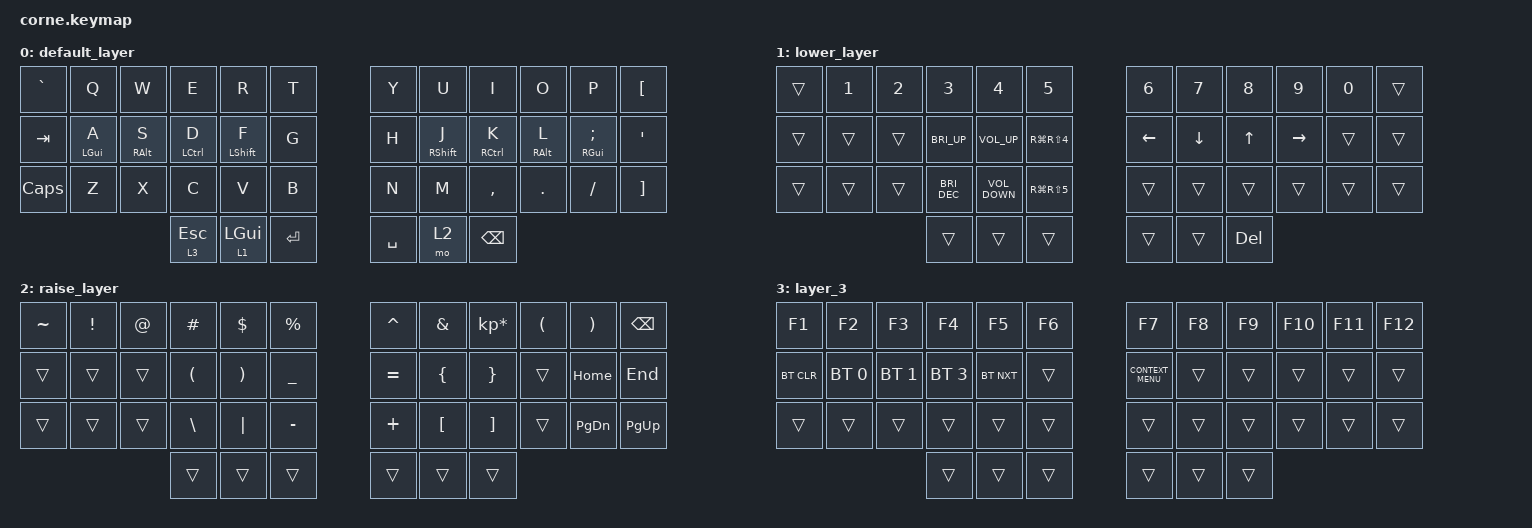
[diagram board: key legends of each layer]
/*
 * Copyright (c) 2020 The ZMK Contributors
 *
 * SPDX-License-Identifier: MIT
 */

#include <behaviors.dtsi>
#include <dt-bindings/zmk/bt.h>
#include <dt-bindings/zmk/keys.h>

/ {
    behaviors {
        hml: homewrow_mods_left {
            compatible = "zmk,behavior-hold-tap";
            label = "HOMEROW_MODS_LEFT_HAND";
            bindings = <&kp>, <&kp>;

            #binding-cells = <2>;
            tapping-term-ms = <150>;
            hold-trigger-key-positions = <6 9 8 7 6 7 8 9 10 11 18 19 20 21 22 23 30 31 32 33 34 35 39 40 41>;
            retro-tap;
            require-prior-idle-ms = <125>;
        };

        hmr: homewrow_mods_right {
            compatible = "zmk,behavior-hold-tap";
            label = "HOMEROW_MODS_RIGHT_HAND";
            bindings = <&kp>, <&kp>;

            #binding-cells = <2>;
            tapping-term-ms = <150>;
            hold-trigger-key-positions = <0 1 2 3 4 5 12 13 14 15 16 17 24 25 26 27 28 29 36 37 38>;
            require-prior-idle-ms = <125>;
            retro-tap;
        };
    };

    keymap {
        compatible = "zmk,keymap";

        default_layer {
            // -----------------------------------------------------------------------------------------
            // |  TAB |  Q  |  W  |  E  |  R  |  T  |   |  Y  |  U   |  I  |  O  |  P  | BKSP |
            // | CTRL |  A  |  S  |  D  |  F  |  G  |   |  H  |  J   |  K  |  L  |  ;  |  '   |
            // | SHFT |  Z  |  X  |  C  |  V  |  B  |   |  N  |  M   |  ,  |  .  |  /  | ESC  |
            //                    | GUI | LWR | SPC |   | ENT | RSE  | ALT |

            bindings = <
&kp GRAVE  &kp Q            &kp W        &kp E         &kp R              &kp T         &kp Y      &kp U               &kp I          &kp O             &kp P                &kp LEFT_BRACKET
&kp TAB    &hml LEFT_GUI A  &hml RALT S  &hml LCTRL D  &hml LEFT_SHIFT F  &kp G         &kp H      &hmr RIGHT_SHIFT J  &hmr RCTRL K   &hmr RIGHT_ALT L  &hmr RGUI SEMICOLON  &kp SQT
&kp CAPS   &kp Z            &kp X        &kp C         &kp V              &kp B         &kp N      &kp M               &kp COMMA      &kp DOT           &kp FSLH             &kp RIGHT_BRACKET
                                         &lt 3 ESCAPE  &lt 1 LEFT_GUI     &kp RETURN    &kp SPACE  &mo 2               &kp BACKSPACE
            >;
        };

        lower_layer {
            // -----------------------------------------------------------------------------------------
            // |  TAB |  1  |  2  |  3  |  4  |  5  |   |  6  |  7  |  8  |  9  |  0  | BKSP |
            // | BTCLR| BT1 | BT2 | BT3 | BT4 | BT5 |   | LFT | DWN |  UP | RGT |     |      |
            // | SHFT |     |     |     |     |     |   |     |     |     |     |     |      |
            //                    | GUI |     | SPC |   | ENT |     | ALT |

            bindings = <
&trans  &kp N1  &kp N2  &kp N3         &kp N4             &kp N5                  &kp N6    &kp N7    &kp N8      &kp N9     &kp N0  &trans
&trans  &trans  &trans  &kp C_BRI_UP   &kp C_VOLUME_UP    &kp RG(RS(NUMBER_4))    &kp LEFT  &kp DOWN  &kp UP      &kp RIGHT  &trans  &trans
&trans  &trans  &trans  &kp C_BRI_DEC  &kp C_VOLUME_DOWN  &kp RG(RS(N5))          &trans    &trans    &trans      &trans     &trans  &trans
                        &trans         &trans             &trans                  &trans    &trans    &kp DELETE
            >;
        };

        raise_layer {
            // -----------------------------------------------------------------------------------------
            // |  TAB |  !  |  @  |  #  |  $  |  %  |   |  ^  |  &  |  *  |  (  |  )  | BKSP |
            // | CTRL |     |     |     |     |     |   |  -  |  =  |  [  |  ]  |  \  |  `   |
            // | SHFT |     |     |     |     |     |   |  _  |  +  |  {  |  }  | "|" |  ~   |
            //                    | GUI |     | SPC |   | ENT |     | ALT |

            bindings = <
&kp TILDE  &kp EXCL  &kp AT  &kp HASH              &kp DLLR               &kp PRCNT         &kp CARET  &kp AMPS          &kp KP_MULTIPLY    &kp LPAR  &kp RPAR       &kp BSPC
&trans     &trans    &trans  &kp LEFT_PARENTHESIS  &kp RIGHT_PARENTHESIS  &kp UNDERSCORE    &kp EQUAL  &kp LEFT_BRACE    &kp RIGHT_BRACE    &trans    &kp HOME       &kp END
&trans     &trans    &trans  &kp BACKSLASH         &kp PIPE               &kp MINUS         &kp PLUS   &kp LEFT_BRACKET  &kp RIGHT_BRACKET  &trans    &kp PAGE_DOWN  &kp PAGE_UP
                             &trans                &trans                 &trans            &trans     &trans            &trans
            >;
        };

        layer_3 {
            bindings = <
&kp F1      &kp F2        &kp F3        &kp F4        &kp F5      &kp F6    &kp F7              &kp F8  &kp F9  &kp F10  &kp F11  &kp F12
&bt BT_CLR  &bt BT_SEL 0  &bt BT_SEL 1  &bt BT_SEL 3  &bt BT_NXT  &trans    &kp K_CONTEXT_MENU  &trans  &trans  &trans   &trans   &trans
&trans      &trans        &trans        &trans        &trans      &trans    &trans              &trans  &trans  &trans   &trans   &trans
                                        &trans        &trans      &trans    &trans              &trans  &trans
            >;
        };
    };
};
